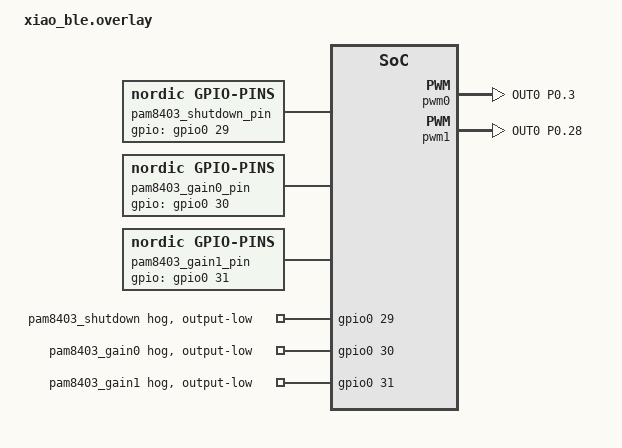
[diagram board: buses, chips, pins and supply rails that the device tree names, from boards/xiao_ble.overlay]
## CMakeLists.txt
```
#
# Copyright (c) 2024 Nordic Semiconductor
#
# SPDX-License-Identifier: LicenseRef-Nordic-5-Clause
#

cmake_minimum_required(VERSION 3.20.0)
find_package(Zephyr REQUIRED HINTS $ENV{ZEPHYR_BASE})
project(nrf_connect_sdk_intermediate)

target_sources(app PRIVATE 
    src/main.c
    src/pwm_audio.c
    src/speaker_pwm.c
)
```

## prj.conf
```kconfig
#
# Copyright (c) 2024 Nordic Semiconductor
#
# SPDX-License-Identifier: LicenseRef-Nordic-5-Clause
#

# Logging
CONFIG_LOG=y

# PWM Audio Configuration for PAM8403
CONFIG_PWM=y
CONFIG_PWM_LOG_LEVEL_DBG=y
CONFIG_PWM_NRFX=y

# Audio and Math support
CONFIG_FPU=y
CONFIG_FP_HARDABI=y
CONFIG_CBPRINTF_FP_SUPPORT=y

# Timer support for anti-pop ramping (using kernel timers - no config needed)

# GPIO support for PAM8403 control
CONFIG_GPIO=y

# Bluetooth support for speaker service (disabled for now)
# CONFIG_BT=y
# CONFIG_BT_PERIPHERAL=y
# CONFIG_BT_GATT=y

# Disable I2S since we're using PWM
# CONFIG_I2S=n
# CONFIG_I2S_NRFX=n
```

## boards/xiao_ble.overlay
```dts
/*
 * Device Tree Overlay for PAM8403 PWM Audio
 * Replaces I2S with PWM audio output
 */

/* Disable I2S0 since we're using PWM instead */
&i2s0 {
    status = "disabled";
};

/* Configure PWM0 for left audio channel */
&pwm0 {
    status = "okay";
    pinctrl-0 = <&pwm0_default>;
    pinctrl-1 = <&pwm0_sleep>;
    pinctrl-names = "default", "sleep";
};

/* Configure PWM1 for right audio channel */
&pwm1 {
    status = "okay";
    pinctrl-0 = <&pwm1_default>;
    pinctrl-1 = <&pwm1_sleep>;
    pinctrl-names = "default", "sleep";
};



/* PWM pin configurations */
&pinctrl {
    /* Left channel PWM (PWM0) - using A1 pin (P0.03) */
    pwm0_default: pwm0_default {
        group1 {
            psels = <NRF_PSEL(PWM_OUT0, 0, 3)>;
        };
    };
    
    pwm0_sleep: pwm0_sleep {
        group1 {
            psels = <NRF_PSEL(PWM_OUT0, 0, 3)>;
            low-power-enable;
        };
    };
    
    /* Right channel PWM (PWM1) - using A2 pin (P0.28) */
    pwm1_default: pwm1_default {
        group1 {
            psels = <NRF_PSEL(PWM_OUT0, 0, 28)>;
        };
    };
    
    pwm1_sleep: pwm1_sleep {
        group1 {
            psels = <NRF_PSEL(PWM_OUT0, 0, 28)>;
            low-power-enable;
        };
    };
};

/* PAM8403 control pins */
&gpio0 {
    /* Shutdown pin - using A3 pin (P0.29) */
    pam8403_shutdown: pam8403_shutdown {
        gpio-hog;
        gpios = <29 GPIO_ACTIVE_HIGH>;
        output-low;
    };
    
    /* Gain control pins - using spare GPIO pins */
    pam8403_gain0: pam8403_gain0 {
        gpio-hog;
        gpios = <30 GPIO_ACTIVE_HIGH>;
        output-low;
    };
    
    pam8403_gain1: pam8403_gain1 {
        gpio-hog;
        gpios = <31 GPIO_ACTIVE_HIGH>;
        output-low;
    };
};

/* PAM8403 pin declarations for devicetree access */
/ {
    pam8403_shutdown_pin: pam8403-shutdown-pin {
        compatible = "nordic,gpio-pins";
        gpios = <&gpio0 29 GPIO_ACTIVE_HIGH>;
        status = "okay";
    };
    
    pam8403_gain0_pin: pam8403-gain0-pin {
        compatible = "nordic,gpio-pins";
        gpios = <&gpio0 30 GPIO_ACTIVE_HIGH>;
        status = "okay";
    };
    
    pam8403_gain1_pin: pam8403-gain1-pin {
        compatible = "nordic,gpio-pins";
        gpios = <&gpio0 31 GPIO_ACTIVE_HIGH>;
        status = "okay";
    };
};



/* Aliases for easy access */
/ {
    aliases {
        pwm-audio-l = &pwm0;
        pwm-audio-r = &pwm1;
        pam8403-shutdown = &pam8403_shutdown;
        pam8403-gain0 = &pam8403_gain0;
        pam8403-gain1 = &pam8403_gain1;
    };
};
```

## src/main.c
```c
/*
 * Copyright (c) 2024 Nordic Semiconductor ASA
 *
 * SPDX-License-Identifier: LicenseRef-Nordic-5-Clause
 */
 
#include <zephyr/kernel.h>
#include <zephyr/logging/log.h>
#include <math.h>
#include "pwm_audio.h"

/* Define M_PI if not already defined */
#ifndef M_PI
#define M_PI 3.14159265358979323846
#endif

LOG_MODULE_REGISTER(PAM8403_PWM_Audio, LOG_LEVEL_INF);

/* Audio buffer for testing */
#define AUDIO_BUFFER_SIZE 8000  // 1 second at 8kHz
static int16_t audio_buffer[AUDIO_BUFFER_SIZE];

int main(void)
{
    int err;
    
    LOG_INF("PAM8403 PWM Audio Demo Starting");
    
    /* Initialize PWM audio system */
    err = pwm_audio_init();
    if (err) {
        LOG_ERR("Failed to initialize PWM audio: %d", err);
        return err;
    }
    
    /* Wait a moment for PAM8403 to stabilize */
    k_sleep(K_MSEC(100));
    
    /* Unmute with anti-pop ramp */
    pwm_audio_unmute();
    
    /* Wait for unmute ramp to complete */
    k_sleep(K_MSEC(100));
    
    /* Generate a test tone (440Hz A note) */
    LOG_INF("Generating test tone (440Hz)");
    err = pwm_audio_generate_tone(audio_buffer, AUDIO_BUFFER_SIZE, 440.0f, 0.3f);
    if (err) {
        LOG_ERR("Failed to generate tone: %d", err);
        return err;
    }
    
    /* Play the tone */
    LOG_INF("Playing test tone");
    err = pwm_audio_play_mono(audio_buffer, AUDIO_BUFFER_SIZE);
    if (err) {
        LOG_ERR("Failed to play audio: %d", err);
        return err;
    }
    
    /* Wait for audio to finish */
    k_sleep(K_MSEC(1500));
    
    /* Generate a chord (C major: C, E, G) */
    LOG_INF("Generating C major chord");
    for (int i = 0; i < AUDIO_BUFFER_SIZE; i++) {
        float t = (float)i / PWM_AUDIO_SAMPLE_RATE;
        float sample = 0.0f;
        
        /* C4 (261.63 Hz) */
        sample += sinf(2.0f * (float)M_PI * 261.63f * t) * 0.2f;
        /* E4 (329.63 Hz) */
        sample += sinf(2.0f * (float)M_PI * 329.63f * t) * 0.2f;
        /* G4 (392.00 Hz) */
        sample += sinf(2.0f * (float)M_PI * 392.00f * t) * 0.2f;
        
        /* Apply envelope */
        float envelope = 1.0f;
        if (i < 1000) {
            envelope = (float)i / 1000.0f; // Fade in
        } else if (i > AUDIO_BUFFER_SIZE - 1000) {
            envelope = (float)(AUDIO_BUFFER_SIZE - i) / 1000.0f; // Fade out
        }
        
        audio_buffer[i] = (int16_t)(sample * envelope * 32767.0f);
    }
    
    /* Play the chord */
    LOG_INF("Playing C major chord");
    err = pwm_audio_play_mono(audio_buffer, AUDIO_BUFFER_SIZE);
    if (err) {
        LOG_ERR("Failed to play chord: %d", err);
        return err;
    }
    
    /* Wait for audio to finish */
    k_sleep(K_MSEC(1500));
    
    /* Print audio system statistics */
    pwm_audio_print_stats();
    
    /* Test different frequencies for quality assessment */
    LOG_INF("Testing different frequencies");
    pwm_audio_test_sine_wave(440.0f, 150, 1000);  // A4
    k_sleep(K_MSEC(500));
    pwm_audio_test_sine_wave(880.0f, 150, 1000);  // A5
    k_sleep(K_MSEC(500));
    pwm_audio_test_sine_wave(1760.0f, 150, 1000); // A6
    k_sleep(K_MSEC(500));
    
    /* Test frequency sweep to check frequency response */
    LOG_INF("Testing frequency sweep (100Hz to 2kHz)");
    pwm_audio_test_sweep(100, 2000, 3000);
    k_sleep(K_MSEC(1000));
    
    /* Test white noise for distortion detection */
    LOG_INF("Testing white noise (listen for distortion)");
    pwm_audio_test_white_noise(2000);
    k_sleep(K_MSEC(1000));
    
    /* Demonstrate volume control with quality monitoring */
    LOG_INF("Demonstrating volume control");
    for (int vol = 50; vol <= PWM_AUDIO_MAX_VOLUME; vol += 50) {
        pwm_audio_set_volume(vol);
        LOG_INF("Volume: %d", vol);
        
        /* Generate and play a short beep */
        err = pwm_audio_generate_tone(audio_buffer, 2000, 800.0f, 0.5f);
        if (!err) {
            pwm_audio_play_mono(audio_buffer, 2000);
        }
        
        k_sleep(K_MSEC(500));
    }
    
    /* Test PAM8403 gain settings */
    LOG_INF("Testing PAM8403 gain settings");
    pam8403_set_gain(PAM8403_GAIN_6DB);
    pwm_audio_test_sine_wave(1000.0f, 100, 1000);
    k_sleep(K_MSEC(500));
    
    pam8403_set_gain(PAM8403_GAIN_15DB);
    pwm_audio_test_sine_wave(1000.0f, 100, 1000);
    k_sleep(K_MSEC(500));
    
    pam8403_set_gain(PAM8403_GAIN_20DB);
    pwm_audio_test_sine_wave(1000.0f, 100, 1000);
    k_sleep(K_MSEC(500));
    
    /* Reset to default gain */
    pam8403_set_gain(PAM8403_GAIN_15DB);
    
    /* Test mute/unmute with anti-pop protection */
    LOG_INF("Testing mute/unmute with anti-pop protection");
    pwm_audio_mute();
    k_sleep(K_MSEC(1000));
    pwm_audio_unmute();
    k_sleep(K_MSEC(1000));
    
    /* Final mute with anti-pop ramp */
    LOG_INF("Final mute");
    pwm_audio_mute();
    
    /* Wait for mute ramp to complete */
    k_sleep(K_MSEC(100));
    
    LOG_INF("PAM8403 PWM Audio Quality Test Complete");
    
    return 0;
}
```

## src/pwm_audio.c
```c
/*
 * Copyright (c) 2024 Nordic Semiconductor ASA
 *
 * SPDX-License-Identifier: LicenseRef-Nordic-5-Clause
 */

#include "pwm_audio.h"
#include <zephyr/drivers/pwm.h>
#include <zephyr/logging/log.h>
#include <zephyr/kernel.h>
#include <math.h>
#include <stdlib.h>

/* Define M_PI if not already defined */
#ifndef M_PI
#define M_PI 3.14159265358979323846
#endif

LOG_MODULE_REGISTER(pwm_audio, CONFIG_LOG_DEFAULT_LEVEL);

/* PWM device specifications */
static const struct device *pwm_audio_l = DEVICE_DT_GET(DT_NODELABEL(pwm0));
static const struct device *pwm_audio_r = DEVICE_DT_GET(DT_NODELABEL(pwm1));

/* Global state */
static uint8_t current_volume = PWM_AUDIO_MAX_VOLUME;
static bool is_muted = false;
static bool is_initialized = false;

/* Timer for anti-pop ramping */
static void mute_ramp_callback(struct k_timer *timer);
K_TIMER_DEFINE(mute_ramp_timer, mute_ramp_callback, NULL);

/* Convert 16-bit audio sample to PWM duty cycle with enhanced quality */
static uint32_t audio_sample_to_pwm(int16_t sample)
{
    /* Apply volume scaling with higher precision */
    int32_t scaled = ((int32_t)sample * current_volume) / 256;
    
    /* Enhanced clipping protection for PAM8403 */
    if (scaled > 127) scaled = 127;
    if (scaled < -128) scaled = -128;
    
    /* Convert to unsigned 8-bit (0-255) with center at 128 */
    uint8_t unsigned_sample = (uint8_t)(scaled + 128);
    
    /* Convert to PWM pulse width in nanoseconds with higher precision */
    uint32_t pulse_width = (uint32_t)((unsigned_sample * PWM_AUDIO_PERIOD_NS) / 256);
    
    /* Ensure minimum pulse width to avoid PWM artifacts */
    if (pulse_width < PWM_AUDIO_PERIOD_NS / 256) {
        pulse_width = PWM_AUDIO_PERIOD_NS / 256;
    }
    if (pulse_width > PWM_AUDIO_PERIOD_NS - (PWM_AUDIO_PERIOD_NS / 256)) {
        pulse_width = PWM_AUDIO_PERIOD_NS - (PWM_AUDIO_PERIOD_NS / 256);
    }
    
    return pulse_width;
}

/* Anti-pop mute ramp function */
static void mute_ramp_callback(struct k_timer *timer)
{
    static uint8_t ramp_step = 0;
    static uint8_t target_volume = 0;
    static bool ramping_to_mute = false;
    
    if (ramp_step == 0) {
        /* Start of ramp */
        if (is_muted) {
            /* Ramping to mute */
            target_volume = 0;
            ramping_to_mute = true;
        } else {
            /* Ramping to unmute */
            target_volume = PWM_AUDIO_MAX_VOLUME;
            ramping_to_mute = false;
        }
    }
    
    /* Calculate current volume for this step */
    uint8_t step_volume = (target_volume * ramp_step) / PWM_AUDIO_MUTE_RAMP_STEPS;
    if (ramping_to_mute) {
        step_volume = current_volume - step_volume;
    }
    
    /* Apply volume */
    pwm_audio_set_volume(step_volume);
    
    ramp_step++;
    
    if (ramp_step >= PWM_AUDIO_MUTE_RAMP_STEPS) {
        /* Ramp complete */
        ramp_step = 0;
        k_timer_stop(timer);
        
        if (ramping_to_mute) {
            /* Set PWM to 50% duty cycle (silence) */
            int err_l = pwm_set(pwm_audio_l, 0, PWM_AUDIO_PERIOD_NS, PWM_AUDIO_PERIOD_NS / 2, 0);
            int err_r = pwm_set(pwm_audio_r, 0, PWM_AUDIO_PERIOD_NS, PWM_AUDIO_PERIOD_NS / 2, 0);
            if (err_l || err_r) {
                LOG_WRN("Failed to set PWM silence during mute ramp");
            }
        }
    }
}

int pwm_audio_init(void)
{
    int err;
    
    if (is_initialized) {
        return 0;
    }
    
    LOG_INF("Initializing PWM audio for PAM8403");
    
    /* Check if PWM devices are ready */
    if (!device_is_ready(pwm_audio_l)) {
        LOG_ERR("Left channel PWM device is not ready");
        return -ENODEV;
    }
    
    if (!device_is_ready(pwm_audio_r)) {
        LOG_ERR("Right channel PWM device is not ready");
        return -ENODEV;
    }
    
    /* Set initial PWM to 50% duty cycle (silence) BEFORE enabling PAM8403 */
    err = pwm_set(pwm_audio_l, 0, PWM_AUDIO_PERIOD_NS, PWM_AUDIO_PERIOD_NS / 2, 0);
    if (err) {
        LOG_ERR("Failed to set left channel PWM: %d", err);
        return err;
    }
    
    err = pwm_set(pwm_audio_r, 0, PWM_AUDIO_PERIOD_NS, PWM_AUDIO_PERIOD_NS / 2, 0);
    if (err) {
        LOG_ERR("Failed to set right channel PWM: %d", err);
        return err;
    }
    
    /* Initialize PAM8403 with anti-pop sequence */
    err = pam8403_init();
    if (err) {
        LOG_ERR("Failed to initialize PAM8403: %d", err);
        return err;
    }
    
    /* Small delay to let PAM8403 stabilize */
    k_sleep(K_MSEC(10));
    
    /* Start with muted state */
    is_muted = true;
    is_initialized = true;
    
    LOG_INF("PWM audio initialized successfully");
    return 0;
}

int pwm_audio_play(const int16_t *buffer, size_t samples)
{
    if (!is_initialized) {
        LOG_ERR("PWM audio not initialized");
        return -ENODEV;
    }
    
    if (is_muted) {
        LOG_WRN("Audio is muted, not playing");
        return 0;
    }
    
    int err;
    size_t i;
    
    /* Process stereo samples (interleaved L/R) */
    for (i = 0; i < samples && i + 1 < samples; i += 2) {
        int16_t left_sample = buffer[i];
        int16_t right_sample = buffer[i + 1];
        
        /* Convert to PWM duty cycles */
        uint32_t left_pulse = audio_sample_to_pwm(left_sample);
        uint32_t right_pulse = audio_sample_to_pwm(right_sample);
        
        /* Set PWM outputs */
        err = pwm_set(pwm_audio_l, 0, PWM_AUDIO_PERIOD_NS, left_pulse, 0);
        if (err) {
            LOG_ERR("Failed to set left PWM: %d", err);
            return err;
        }
        
        err = pwm_set(pwm_audio_r, 0, PWM_AUDIO_PERIOD_NS, right_pulse, 0);
        if (err) {
            LOG_ERR("Failed to set right PWM: %d", err);
            return err;
        }
        
        /* Small delay to maintain sample rate */
        k_busy_wait(125); // 8kHz = 125μs per sample
    }
    
    return 0;
}

int pwm_audio_play_mono(const int16_t *buffer, size_t samples)
{
    if (!is_initialized) {
        LOG_ERR("PWM audio not initialized");
        return -ENODEV;
    }
    
    if (is_muted) {
        LOG_WRN("Audio is muted, not playing");
        return 0;
    }
    
    int err;
    size_t i;
    
    /* Process mono samples (duplicate to both channels) */
    for (i = 0; i < samples; i++) {
        int16_t sample = buffer[i];
        
        /* Convert to PWM duty cycle */
        uint32_t pulse = audio_sample_to_pwm(sample);
        
        /* Set both PWM outputs to same value */
        err = pwm_set(pwm_audio_l, 0, PWM_AUDIO_PERIOD_NS, pulse, 0);
        if (err) {
            LOG_ERR("Failed to set left PWM: %d", err);
            return err;
        }
        
        err = pwm_set(pwm_audio_r, 0, PWM_AUDIO_PERIOD_NS, pulse, 0);
        if (err) {
            LOG_ERR("Failed to set right PWM: %d", err);
            return err;
        }
        
        /* Small delay to maintain sample rate */
        k_busy_wait(125); // 8kHz = 125μs per sample
    }
    
    return 0;
}

void pwm_audio_mute(void)
{
    if (!is_initialized) {
        return;
    }
    
    if (!is_muted) {
        LOG_INF("Muting audio with anti-pop ramp");
        is_muted = true;
        
        /* Start mute ramp */
        k_timer_start(&mute_ramp_timer, 
                     K_MSEC(PWM_AUDIO_MUTE_RAMP_MS / PWM_AUDIO_MUTE_RAMP_STEPS), 
                     K_MSEC(PWM_AUDIO_MUTE_RAMP_MS / PWM_AUDIO_MUTE_RAMP_STEPS));
    }
}

void pwm_audio_unmute(void)
{
    if (!is_initialized) {
        return;
    }
    
    if (is_muted) {
        LOG_INF("Unmuting audio with anti-pop ramp");
        is_muted = false;
        
        /* Start unmute ramp */
        k_timer_start(&mute_ramp_timer, 
                     K_MSEC(PWM_AUDIO_MUTE_RAMP_MS / PWM_AUDIO_MUTE_RAMP_STEPS), 
                     K_MSEC(PWM_AUDIO_MUTE_RAMP_MS / PWM_AUDIO_MUTE_RAMP_STEPS));
    }
}

void pwm_audio_set_volume(uint8_t volume)
{
    if (volume > PWM_AUDIO_MAX_VOLUME) {
        volume = PWM_AUDIO_MAX_VOLUME;
    }
    
    current_volume = volume;
    LOG_DBG("Volume set to %d", volume);
}

int pwm_audio_generate_tone(int16_t *buffer, size_t samples, float frequency, float amplitude)
{
    if (!buffer || samples == 0) {
        return -EINVAL;
    }
    
    /* Clamp amplitude to 0.0 - 1.0 */
    if (amplitude > 1.0f) amplitude = 1.0f;
    if (amplitude < 0.0f) amplitude = 0.0f;
    
    for (size_t i = 0; i < samples; i++) {
        float t = (float)i / PWM_AUDIO_SAMPLE_RATE;
        float sample = sinf(2.0f * (float)M_PI * frequency * t) * amplitude;
        
        /* Convert to 16-bit signed integer */
        buffer[i] = (int16_t)(sample * 32767.0f);
    }
    
    return 0;
}

/* PAM8403 specific functions */
int pam8403_init(void)
{
    int err;
    
    LOG_INF("Initializing PAM8403 amplifier");
    
    /* Configure shutdown pin using devicetree */
    if (gpio_is_ready_dt(&pam8403_shutdown_pin)) {
        err = gpio_pin_configure_dt(&pam8403_shutdown_pin, GPIO_OUTPUT_INACTIVE);
        if (err) {
            LOG_ERR("Failed to configure shutdown pin: %d", err);
            return err;
        }
    } else {
        LOG_ERR("PAM8403 shutdown pin not ready");
        return -ENODEV;
    }
    
    /* Configure gain pins if available */
    if (gpio_is_ready_dt(&pam8403_gain0_pin)) {
        err = gpio_pin_configure_dt(&pam8403_gain0_pin, GPIO_OUTPUT_INACTIVE);
        if (err) {
            LOG_WRN("Failed to configure gain0 pin: %d", err);
        }
    }
    
    if (gpio_is_ready_dt(&pam8403_gain1_pin)) {
        err = gpio_pin_configure_dt(&pam8403_gain1_pin, GPIO_OUTPUT_INACTIVE);
        if (err) {
            LOG_WRN("Failed to configure gain1 pin: %d", err);
        }
    }
    
    /* Set conservative default gain (15dB) to avoid clipping */
    pam8403_set_gain(PAM8403_GAIN_15DB);
    
    /* Wake up the amplifier with anti-pop sequence */
    pam8403_wakeup();
    
    /* Additional delay for PAM8403 to fully wake up */
    k_sleep(K_MSEC(5));
    
    LOG_INF("PAM8403 initialized successfully");
    return 0;
}

void pam8403_shutdown(void)
{
    LOG_INF("Shutting down PAM8403");
    int err = gpio_pin_set_dt(&pam8403_shutdown_pin, 0);
    if (err) {
        LOG_ERR("Failed to shutdown PAM8403: %d", err);
    }
}

void pam8403_wakeup(void)
{
    LOG_INF("Waking up PAM8403");
    int err = gpio_pin_set_dt(&pam8403_shutdown_pin, 1);
    if (err) {
        LOG_ERR("Failed to wake up PAM8403: %d", err);
    }
}

void pam8403_set_gain(uint8_t gain_level)
{
    /* PAM8403 gain settings:
     * 0: 6dB, 1: 15dB, 2: 20dB, 3: 24dB
     */
    if (gain_level > 3) {
        gain_level = 1; // Default to 15dB
    }
    
    if (gpio_is_ready_dt(&pam8403_gain0_pin)) {
        int err = gpio_pin_set_dt(&pam8403_gain0_pin, gain_level & 0x01);
        if (err) {
            LOG_WRN("Failed to set gain0 pin: %d", err);
        }
    }
    
    if (gpio_is_ready_dt(&pam8403_gain1_pin)) {
        int err = gpio_pin_set_dt(&pam8403_gain1_pin, (gain_level >> 1) & 0x01);
        if (err) {
            LOG_WRN("Failed to set gain1 pin: %d", err);
        }
    }
    
    LOG_INF("PAM8403 gain set to level %d", gain_level);
}

/* Memory slab for audio buffers (like Omi) */
#define MAX_BLOCK_SIZE 10000  // Same as Omi
#define BLOCK_COUNT 2         // Same as Omi
K_MEM_SLAB_DEFINE_STATIC(audio_mem_slab, MAX_BLOCK_SIZE, BLOCK_COUNT, 2);

/* Audio quality test functions */

int pwm_audio_test_sine_wave(float frequency, uint8_t volume, uint16_t duration_ms)
{
    if (!is_initialized) {
        LOG_ERR("PWM audio not initialized");
        return -ENODEV;
    }
    
    LOG_INF("Testing sine wave: %.1f Hz, volume %d, duration %d ms", (double)frequency, volume, duration_ms);
    
    uint8_t original_volume = current_volume;
    pwm_audio_set_volume(volume);
    
    /* Use memory slab allocation (like Omi) */
    size_t samples = (PWM_AUDIO_SAMPLE_RATE * duration_ms) / 1000;
    if (samples > MAX_BLOCK_SIZE / sizeof(int16_t)) {
        samples = MAX_BLOCK_SIZE / sizeof(int16_t);
        LOG_WRN("Test duration limited to %d ms", (int)((MAX_BLOCK_SIZE / sizeof(int16_t) * 1000) / PWM_AUDIO_SAMPLE_RATE));
    }
    
    int16_t *buffer;
    if (k_mem_slab_alloc(&audio_mem_slab, (void **)&buffer, K_NO_WAIT) != 0) {
        LOG_ERR("Failed to allocate audio buffer");
        return -ENOMEM;
    }
    
    /* Generate sine wave */
    for (size_t i = 0; i < samples; i++) {
        float t = (float)i / PWM_AUDIO_SAMPLE_RATE;
        float sample = sinf(2.0f * (float)M_PI * frequency * t);
        buffer[i] = (int16_t)(sample * 16384.0f); // Half amplitude to avoid clipping
    }
    
    /* Play the test tone */
    int ret = pwm_audio_play_mono(buffer, samples);
    
    /* Free the buffer */
    k_mem_slab_free(&audio_mem_slab, buffer);
    
    pwm_audio_set_volume(original_volume);
    
    return ret;
}

int pwm_audio_test_sweep(uint16_t start_freq, uint16_t end_freq, uint16_t duration_ms)
{
    if (!is_initialized) {
        LOG_ERR("PWM audio not initialized");
        return -ENODEV;
    }
    
    LOG_INF("Testing frequency sweep: %d Hz to %d Hz, duration %d ms", start_freq, end_freq, duration_ms);
    
    /* Use memory slab allocation (like Omi) */
    size_t samples = (PWM_AUDIO_SAMPLE_RATE * duration_ms) / 1000;
    if (samples > MAX_BLOCK_SIZE / sizeof(int16_t)) {
        samples = MAX_BLOCK_SIZE / sizeof(int16_t);
        LOG_WRN("Test duration limited to %d ms", (int)((MAX_BLOCK_SIZE / sizeof(int16_t) * 1000) / PWM_AUDIO_SAMPLE_RATE));
    }
    
    int16_t *buffer;
    if (k_mem_slab_alloc(&audio_mem_slab, (void **)&buffer, K_NO_WAIT) != 0) {
        LOG_ERR("Failed to allocate audio buffer");
        return -ENOMEM;
    }
    
    /* Generate frequency sweep */
    for (size_t i = 0; i < samples; i++) {
        float t = (float)i / samples; // Normalized time 0-1
        float freq = start_freq + (end_freq - start_freq) * t;
        float phase = 2.0f * (float)M_PI * freq * (float)i / PWM_AUDIO_SAMPLE_RATE;
        float sample = sinf(phase);
        buffer[i] = (int16_t)(sample * 8192.0f); // Quarter amplitude
    }
    
    /* Play the sweep */
    int ret = pwm_audio_play_mono(buffer, samples);
    
    /* Free the buffer */
    k_mem_slab_free(&audio_mem_slab, buffer);
    
    return ret;
}

int pwm_audio_test_white_noise(uint16_t duration_ms)
{
    if (!is_initialized) {
        LOG_ERR("PWM audio not initialized");
        return -ENODEV;
    }
    
    LOG_INF("Testing white noise, duration %d ms", duration_ms);
    
    /* Use memory slab allocation (like Omi) */
    size_t samples = (PWM_AUDIO_SAMPLE_RATE * duration_ms) / 1000;
    if (samples > MAX_BLOCK_SIZE / sizeof(int16_t)) {
        samples = MAX_BLOCK_SIZE / sizeof(int16_t);
        LOG_WRN("Test duration limited to %d ms", (int)((MAX_BLOCK_SIZE / sizeof(int16_t) * 1000) / PWM_AUDIO_SAMPLE_RATE));
    }
    
    int16_t *buffer;
    if (k_mem_slab_alloc(&audio_mem_slab, (void **)&buffer, K_NO_WAIT) != 0) {
        LOG_ERR("Failed to allocate audio buffer");
        return -ENOMEM;
    }
    
    /* Generate white noise (simple random) */
    for (size_t i = 0; i < samples; i++) {
        int16_t noise = (int16_t)((rand() % 65536) - 32768);
        buffer[i] = noise / 4; // Reduce amplitude
    }
    
    /* Play the noise */
    int ret = pwm_audio_play_mono(buffer, samples);
    
    /* Free the buffer */
    k_mem_slab_free(&audio_mem_slab, buffer);
    
    return ret;
}

void pwm_audio_print_stats(void)
{
    LOG_INF("PWM Audio Statistics:");
    LOG_INF("  Sample Rate: %d Hz", PWM_AUDIO_SAMPLE_RATE);
    LOG_INF("  PWM Frequency: %d Hz", PWM_AUDIO_PWM_FREQ);
    LOG_INF("  PWM Period: %llu ns", PWM_AUDIO_PERIOD_NS);
    LOG_INF("  Max Volume: %d/256", PWM_AUDIO_MAX_VOLUME);
    LOG_INF("  Current Volume: %d/256", current_volume);
    LOG_INF("  Muted: %s", is_muted ? "Yes" : "No");
    LOG_INF("  Initialized: %s", is_initialized ? "Yes" : "No");
}
```

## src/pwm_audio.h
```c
/*
 * Copyright (c) 2024 Nordic Semiconductor ASA
 *
 * SPDX-License-Identifier: LicenseRef-Nordic-5-Clause
 */

#ifndef PWM_AUDIO_H
#define PWM_AUDIO_H

#include <zephyr/kernel.h>
#include <zephyr/device.h>
#include <zephyr/drivers/pwm.h>
#include <zephyr/drivers/gpio.h>

/* Audio configuration for PAM8403 - Optimized for high fidelity */
#define PWM_AUDIO_SAMPLE_RATE     16000   // 16kHz sample rate (better quality)
#define PWM_AUDIO_PWM_FREQ        1000000 // 1MHz PWM frequency (>> audio bandwidth, better SNR)
#define PWM_AUDIO_RESOLUTION      256     // 8-bit PWM resolution
#define PWM_AUDIO_PERIOD_NS       (1000000000ULL / PWM_AUDIO_PWM_FREQ)
#define PWM_AUDIO_MAX_VOLUME      180     // Max volume to avoid clipping (out of 256) - conservative

/* Anti-pop configuration - Enhanced for PAM8403 */
#define PWM_AUDIO_MUTE_RAMP_MS    100     // Longer mute/unmute ramp time (prevents pops)
#define PWM_AUDIO_MUTE_RAMP_STEPS 20      // More steps for smoother ramping

/* PAM8403 gain settings */
#define PAM8403_GAIN_6DB          0       // 6dB gain
#define PAM8403_GAIN_15DB         1       // 15dB gain (default)
#define PAM8403_GAIN_20DB         2       // 20dB gain
#define PAM8403_GAIN_24DB         3       // 24dB gain (max)

/* PAM8403 control pins using devicetree macros */
static const struct gpio_dt_spec pam8403_shutdown_pin =
    GPIO_DT_SPEC_GET_OR(DT_NODELABEL(pam8403_shutdown_pin), gpios, {0});
static const struct gpio_dt_spec pam8403_gain0_pin =
    GPIO_DT_SPEC_GET_OR(DT_NODELABEL(pam8403_gain0_pin), gpios, {0});
static const struct gpio_dt_spec pam8403_gain1_pin =
    GPIO_DT_SPEC_GET_OR(DT_NODELABEL(pam8403_gain1_pin), gpios, {0});

/* PWM device aliases */
#define PWM_AUDIO_L_CHANNEL       DT_NODELABEL(pwm0)
#define PWM_AUDIO_R_CHANNEL       DT_NODELABEL(pwm1)

/* Function prototypes */
int pwm_audio_init(void);
int pwm_audio_play(const int16_t *buffer, size_t samples);
int pwm_audio_play_mono(const int16_t *buffer, size_t samples);
void pwm_audio_mute(void);
void pwm_audio_unmute(void);
void pwm_audio_set_volume(uint8_t volume);
int pwm_audio_generate_tone(int16_t *buffer, size_t samples, float frequency, float amplitude);

/* PAM8403 specific functions */
int pam8403_init(void);
void pam8403_shutdown(void);
void pam8403_wakeup(void);
void pam8403_set_gain(uint8_t gain_level);

/* Audio quality test functions */
int pwm_audio_test_sine_wave(float frequency, uint8_t volume, uint16_t duration_ms);
int pwm_audio_test_sweep(uint16_t start_freq, uint16_t end_freq, uint16_t duration_ms);
int pwm_audio_test_white_noise(uint16_t duration_ms);
void pwm_audio_print_stats(void);

#endif /* PWM_AUDIO_H */
```

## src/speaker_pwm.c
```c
/*
 * Copyright (c) 2024 Nordic Semiconductor ASA
 *
 * SPDX-License-Identifier: LicenseRef-Nordic-5-Clause
 */

#include "speaker_pwm.h"
#include <zephyr/kernel.h>
#include <zephyr/device.h>
#include <math.h>
#include <zephyr/logging/log.h>
#include <zephyr/logging/log_ctrl.h>
#include "pwm_audio.h"

/* Define PI if not already defined */
#ifndef PI
#define PI 3.14159265358979323846
#endif

LOG_MODULE_REGISTER(speaker_pwm, CONFIG_LOG_DEFAULT_LEVEL);

K_MEM_SLAB_DEFINE_STATIC(mem_slab, MAX_BLOCK_SIZE, BLOCK_COUNT, 2);

/* Dummy device for compatibility with original interface */
struct device *audio_speaker = (struct device *)0x12345678; // Dummy address

static void* rx_buffer;
static void* buzz_buffer;
static int16_t *ptr2;
static int16_t *clear_ptr;

static uint16_t current_length;
static uint16_t offset;



int speaker_init() 
{
    LOG_INF("PWM Speaker init");
    
    /* Initialize PWM audio system */
    int err = pwm_audio_init();
    if (err) {
        LOG_ERR("Failed to initialize PWM audio: %d", err);
        return err;
    }
    

    
    /* Allocate memory buffers */
    err = k_mem_slab_alloc(&mem_slab, &rx_buffer, K_MSEC(200));
	if (err)
    {
		LOG_INF("Failed to allocate memory for speaker%d)", err);
        return -1;
	}

	err = k_mem_slab_alloc(&mem_slab, &buzz_buffer, K_MSEC(200));
	if (err) 
    {
		LOG_INF("Failed to allocate for chime (%d)", err);
        return -1;
	}
      
    memset(rx_buffer, 0, MAX_BLOCK_SIZE);
    memset(buzz_buffer, 0, MAX_BLOCK_SIZE);
    
    /* Unmute with anti-pop protection */
    pwm_audio_unmute();
    
    return 0;
}

uint16_t speak(uint16_t len, const void *buf) //direct from bt
{
	uint16_t amount = 0;
    amount = len;
	if (len == 4)  //if stage 1 
	{
        current_length = ((uint32_t *)buf)[0];
	    LOG_INF("About to write %u bytes", current_length);
        ptr2 = (int16_t *)rx_buffer;
        clear_ptr = (int16_t *)rx_buffer;
	}
    else 
    { //if not stage 1
        if (current_length > PACKET_SIZE) 
        {
            LOG_INF("Data length: %u", len);
            current_length = current_length - PACKET_SIZE;
            LOG_INF("remaining data: %u", current_length);

            for (int i = 0; i < (int)(len/2); i++) 
            {
                *ptr2++ = ((int16_t *)buf)[i];  
                *ptr2++ = ((int16_t *)buf)[i]; 
            }
            offset = offset + len;
        }
        else if (current_length < PACKET_SIZE) 
        {
            LOG_INF("entered the final stretch");
            LOG_INF("Data length: %u", len);
            current_length = current_length - len;
            LOG_INF("remaining data: %u", current_length);
            
            for (int i = 0; i < len/2; i++) 
            {
                *ptr2++ = ((int16_t *)buf)[i];  
                *ptr2++ = ((int16_t *)buf)[i];  
            }
            offset = offset + len;
            LOG_INF("offset: %u", offset);
            offset = 0;
            
            /* Play audio using PWM instead of I2S */
            int res = pwm_audio_play_mono(rx_buffer, MAX_BLOCK_SIZE / sizeof(int16_t));
            if (res < 0)
            {
                LOG_PRINTK("Failed to play PWM audio: %d\n", res);
            }
            
            //clear the buffer
            k_sleep(K_MSEC(4000));
            memset(clear_ptr, 0, MAX_BLOCK_SIZE);
        }
    }
    return amount;
}

void generate_gentle_chime(int16_t *buffer, int num_samples)
{
    LOG_INF("Generating gentle chime");
    const float frequencies[] = {523.25, 659.25, 783.99, 1046.50}; // C5, E5, G5, C6
    const int num_freqs = sizeof(frequencies) / sizeof(frequencies[0]);

    for (int i = 0; i < num_samples; i++) 
    { 
        float t = (float)i / SAMPLE_FREQUENCY;
        float sample = 0;
        for (int j = 0; j < num_freqs; j++) 
        {
           sample += sinf(2.0f * (float)PI * frequencies[j] * t) * (1.0f - t);
        }
        int16_t int_sample = (int16_t)(sample / num_freqs * 32767.0f * 0.5f);
        buffer[i * NUM_CHANNELS] = int_sample;
        buffer[i * NUM_CHANNELS + 1] = int_sample;
    }
    LOG_INF("Done generating gentle chime");
}

int play_boot_sound(void)
{
    int ret;
    int16_t *buffer = (int16_t *) buzz_buffer;
    const int samples_per_block = MAX_BLOCK_SIZE / (NUM_CHANNELS * sizeof(int16_t));

    generate_gentle_chime(buffer, samples_per_block);
    LOG_INF("Writing to PWM speaker");
    k_sleep(K_MSEC(100));
    
    /* Play using PWM audio instead of I2S */
    ret = pwm_audio_play_mono(buffer, samples_per_block);
    if (ret) 
    {
        LOG_ERR("Failed to play PWM audio: %d", ret);
        return ret;
    }
    
    k_sleep(K_MSEC(3000));  
    return 0;
}

void speaker_off()
{
    /* Mute PWM audio with anti-pop protection */
    pwm_audio_mute();
}

/* PWM-specific functions */
int pwm_speaker_init(void)
{
    return pwm_audio_init();
}

void pwm_speaker_set_volume(uint8_t volume)
{
    pwm_audio_set_volume(volume);
}

void pwm_speaker_mute(void)
{
    pwm_audio_mute();
}

void pwm_speaker_unmute(void)
{
    pwm_audio_unmute();
}
```

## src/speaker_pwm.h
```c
/*
 * Copyright (c) 2024 Nordic Semiconductor ASA
 *
 * SPDX-License-Identifier: LicenseRef-Nordic-5-Clause
 */

#ifndef SPEAKER_PWM_H
#define SPEAKER_PWM_H

#include <zephyr/kernel.h>
#include <zephyr/device.h>
#include <zephyr/drivers/gpio.h>
#include <math.h>
#include <zephyr/logging/log.h>
#include <zephyr/logging/log_ctrl.h>
#include "pwm_audio.h"

/* LOG_MODULE_REGISTER is defined in speaker_pwm.c */

#define MAX_BLOCK_SIZE   10000 //24000 * 2
#define BLOCK_COUNT 2     
#define SAMPLE_FREQUENCY 8000
#define NUMBER_OF_CHANNELS 2
#define PACKET_SIZE 400
#define WORD_SIZE 16
#define NUM_CHANNELS 2
#define PI 3.14159265358979323846
/* Compatibility with original speaker interface */
extern struct device *audio_speaker; // Dummy for compatibility

/* Function prototypes - same interface as original speaker.h */
int speaker_init(void);
uint16_t speak(uint16_t len, const void *buf);
void generate_gentle_chime(int16_t *buffer, int num_samples);
int play_boot_sound(void);
void speaker_off(void);

/* Additional PWM-specific functions */
int pwm_speaker_init(void);
void pwm_speaker_set_volume(uint8_t volume);
void pwm_speaker_mute(void);
void pwm_speaker_unmute(void);

#endif /* SPEAKER_PWM_H */
```
